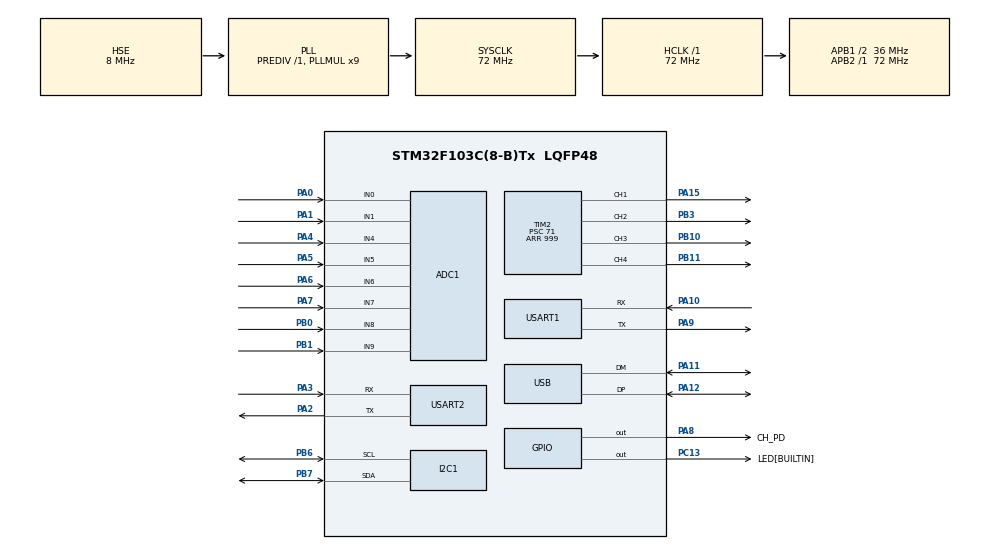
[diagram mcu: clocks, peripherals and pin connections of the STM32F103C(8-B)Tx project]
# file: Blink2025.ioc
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ADC1.Channel-0\#ChannelRegularConversion=ADC_CHANNEL_0
ADC1.Channel-1\#ChannelRegularConversion=ADC_CHANNEL_1
ADC1.Channel-2\#ChannelRegularConversion=ADC_CHANNEL_4
ADC1.Channel-3\#ChannelRegularConversion=ADC_CHANNEL_5
ADC1.Channel-4\#ChannelRegularConversion=ADC_CHANNEL_6
ADC1.Channel-5\#ChannelRegularConversion=ADC_CHANNEL_7
ADC1.Channel-6\#ChannelRegularConversion=ADC_CHANNEL_8
ADC1.Channel-7\#ChannelRegularConversion=ADC_CHANNEL_9
ADC1.ExternalTrigConv=ADC_EXTERNALTRIGCONV_T3_TRGO
ADC1.NbrOfConversion=8
ADC1.NbrOfConversionFlag=1
ADC1.Rank-0\#ChannelRegularConversion=1
ADC1.Rank-1\#ChannelRegularConversion=2
ADC1.Rank-2\#ChannelRegularConversion=3
ADC1.Rank-3\#ChannelRegularConversion=4
ADC1.Rank-4\#ChannelRegularConversion=5
ADC1.Rank-5\#ChannelRegularConversion=6
ADC1.Rank-6\#ChannelRegularConversion=7
ADC1.Rank-7\#ChannelRegularConversion=8
ADC1.SamplingTime-0\#ChannelRegularConversion=ADC_SAMPLETIME_7CYCLES_5
ADC1.SamplingTime-1\#ChannelRegularConversion=ADC_SAMPLETIME_7CYCLES_5
ADC1.SamplingTime-2\#ChannelRegularConversion=ADC_SAMPLETIME_7CYCLES_5
ADC1.SamplingTime-3\#ChannelRegularConversion=ADC_SAMPLETIME_7CYCLES_5
ADC1.SamplingTime-4\#ChannelRegularConversion=ADC_SAMPLETIME_7CYCLES_5
ADC1.SamplingTime-5\#ChannelRegularConversion=ADC_SAMPLETIME_7CYCLES_5
ADC1.SamplingTime-6\#ChannelRegularConversion=ADC_SAMPLETIME_7CYCLES_5
ADC1.SamplingTime-7\#ChannelRegularConversion=ADC_SAMPLETIME_7CYCLES_5
ADC1.master=1
Dma.ADC1.0.Direction=DMA_PERIPH_TO_MEMORY
Dma.ADC1.0.Instance=DMA1_Channel1
Dma.ADC1.0.MemDataAlignment=DMA_MDATAALIGN_HALFWORD
Dma.ADC1.0.MemInc=DMA_MINC_ENABLE
Dma.ADC1.0.Mode=DMA_CIRCULAR
Dma.ADC1.0.PeriphDataAlignment=DMA_PDATAALIGN_HALFWORD
Dma.ADC1.0.PeriphInc=DMA_PINC_DISABLE
Dma.ADC1.0.Priority=DMA_PRIORITY_LOW
Dma.I2C1_RX.2.Direction=DMA_PERIPH_TO_MEMORY
Dma.I2C1_RX.2.Instance=DMA1_Channel7
Dma.I2C1_RX.2.MemDataAlignment=DMA_MDATAALIGN_BYTE
Dma.I2C1_RX.2.MemInc=DMA_MINC_ENABLE
Dma.I2C1_RX.2.Mode=DMA_NORMAL
Dma.I2C1_RX.2.PeriphDataAlignment=DMA_PDATAALIGN_BYTE
Dma.I2C1_RX.2.PeriphInc=DMA_PINC_DISABLE
Dma.I2C1_RX.2.Priority=DMA_PRIORITY_LOW
Dma.I2C1_TX.1.Direction=DMA_MEMORY_TO_PERIPH
Dma.I2C1_TX.1.Instance=DMA1_Channel6
Dma.I2C1_TX.1.MemDataAlignment=DMA_MDATAALIGN_BYTE
Dma.I2C1_TX.1.MemInc=DMA_MINC_ENABLE
Dma.I2C1_TX.1.Mode=DMA_NORMAL
Dma.I2C1_TX.1.PeriphDataAlignment=DMA_PDATAALIGN_BYTE
Dma.I2C1_TX.1.PeriphInc=DMA_PINC_DISABLE
Dma.I2C1_TX.1.Priority=DMA_PRIORITY_MEDIUM
Dma.Request0=ADC1
Dma.Request1=I2C1_TX
Dma.Request2=I2C1_RX
I2C1.I2C_Mode=I2C_Fast
Mcu.Family=STM32F1
Mcu.Name=STM32F103C(8-B)Tx
Mcu.Package=LQFP48
NVIC.DMA1_Channel1_IRQn=true\:0\:0\:false\:false\:true\:false\:true\:true
NVIC.DMA1_Channel6_IRQn=true\:0\:0\:false\:false\:true\:false\:true\:true
NVIC.DMA1_Channel7_IRQn=true\:0\:0\:false\:false\:true\:false\:true\:true
NVIC.I2C1_ER_IRQn=true\:0\:0\:false\:false\:true\:true\:true\:true
NVIC.I2C1_EV_IRQn=true\:0\:0\:false\:false\:true\:true\:true\:true
NVIC.PriorityGroup=NVIC_PRIORITYGROUP_4
NVIC.TIM1_BRK_IRQn=true\:0\:0\:false\:false\:true\:true\:true\:true
NVIC.TIM1_TRG_COM_IRQn=true\:0\:0\:false\:false\:true\:true\:true\:true
NVIC.TIM1_UP_IRQn=true\:0\:0\:false\:false\:true\:true\:true\:true
NVIC.TIM2_IRQn=true\:0\:0\:false\:false\:true\:true\:true\:true
NVIC.TIM3_IRQn=true\:0\:0\:false\:false\:true\:true\:true\:true
NVIC.USART1_IRQn=true\:0\:0\:false\:false\:true\:true\:true\:true
NVIC.USART2_IRQn=true\:0\:0\:false\:false\:true\:true\:true\:true
NVIC.USB_LP_CAN1_RX0_IRQn=true\:0\:0\:false\:false\:true\:false\:true\:true
PA0-WKUP.Signal=ADCx_IN0
PA1.Signal=ADCx_IN1
PA10.Mode=Asynchronous
PA10.Signal=USART1_RX
PA11.Mode=Device
PA11.Signal=USB_DM
PA12.Mode=Device
PA12.Signal=USB_DP
PA13.Mode=Serial_Wire
PA13.Signal=SYS_JTMS-SWDIO
PA14.Mode=Serial_Wire
PA14.Signal=SYS_JTCK-SWCLK
PA15.Signal=S_TIM2_CH1_ETR
PA2.Mode=Asynchronous
PA2.Signal=USART2_TX
PA3.Mode=Asynchronous
PA3.Signal=USART2_RX
PA4.Signal=ADCx_IN4
PA5.Signal=ADCx_IN5
PA6.Signal=ADCx_IN6
PA7.Signal=ADCx_IN7
PA8.GPIO_Label=CH_PD
PA8.Signal=GPIO_Output
PA9.Mode=Asynchronous
PA9.Signal=USART1_TX
PB0.Signal=ADCx_IN8
PB1.Signal=ADCx_IN9
PB10.Signal=S_TIM2_CH3
PB11.Signal=S_TIM2_CH4
PB3.Signal=S_TIM2_CH2
PB6.Mode=I2C
PB6.Signal=I2C1_SCL
PB7.Mode=I2C
PB7.Signal=I2C1_SDA
PC13-TAMPER-RTC.GPIO_Label=LED[BUILTIN]
PC13-TAMPER-RTC.Signal=GPIO_Output
PC14-OSC32_IN.Mode=LSE-External-Oscillator
PC14-OSC32_IN.Signal=RCC_OSC32_IN
PC15-OSC32_OUT.Mode=LSE-External-Oscillator
PC15-OSC32_OUT.Signal=RCC_OSC32_OUT
PD0-OSC_IN.Mode=HSE-External-Oscillator
PD0-OSC_IN.Signal=RCC_OSC_IN
PD1-OSC_OUT.Mode=HSE-External-Oscillator
PD1-OSC_OUT.Signal=RCC_OSC_OUT
ProjectManager.HeapSize=0x200
ProjectManager.StackSize=0x400
ProjectManager.TargetToolchain=STM32CubeIDE
RCC.ADCPresc=RCC_ADCPCLK2_DIV6
RCC.AHBFreq_Value=72000000
RCC.APB1CLKDivider=RCC_HCLK_DIV2
RCC.APB1Freq_Value=36000000
RCC.APB1TimFreq_Value=72000000
RCC.APB2Freq_Value=72000000
RCC.APB2TimFreq_Value=72000000
RCC.HCLKFreq_Value=72000000
RCC.PLLMUL=RCC_PLL_MUL9
RCC.PLLSourceVirtual=RCC_PLLSOURCE_HSE
RCC.SYSCLKFreq_VALUE=72000000
RCC.SYSCLKSource=RCC_SYSCLKSOURCE_PLLCLK
RCC.USBFreq_Value=48000000
RCC.USBPrescaler=RCC_USBCLKSOURCE_PLL_DIV1_5
SH.ADCx_IN0.0=ADC1_IN0,IN0
SH.ADCx_IN1.0=ADC1_IN1,IN1
SH.ADCx_IN4.0=ADC1_IN4,IN4
SH.ADCx_IN5.0=ADC1_IN5,IN5
SH.ADCx_IN6.0=ADC1_IN6,IN6
SH.ADCx_IN7.0=ADC1_IN7,IN7
SH.ADCx_IN8.0=ADC1_IN8,IN8
SH.ADCx_IN9.0=ADC1_IN9,IN9
SH.S_TIM2_CH1_ETR.0=TIM2_CH1,PWM Generation1 CH1
SH.S_TIM2_CH2.0=TIM2_CH2,PWM Generation2 CH2
SH.S_TIM2_CH3.0=TIM2_CH3,PWM Generation3 CH3
SH.S_TIM2_CH4.0=TIM2_CH4,PWM Generation4 CH4
TIM1.Period=99
TIM1.Prescaler=7199
TIM1.TIM_MasterOutputTrigger=TIM_TRGO_UPDATE
TIM1.TIM_MasterSlaveMode=TIM_MASTERSLAVEMODE_DISABLE
TIM2.Channel-PWM\ Generation1\ CH1=TIM_CHANNEL_1
TIM2.Channel-PWM\ Generation2\ CH2=TIM_CHANNEL_2
TIM2.Channel-PWM\ Generation3\ CH3=TIM_CHANNEL_3
TIM2.Channel-PWM\ Generation4\ CH4=TIM_CHANNEL_4
TIM2.Period=999
TIM2.Prescaler=71
TIM3.Period=249
TIM3.Prescaler=71
TIM3.TIM_MasterOutputTrigger=TIM_TRGO_UPDATE
USART1.VirtualMode=VM_ASYNC
USART2.VirtualMode=VM_ASYNC
USB_DEVICE.APP_RX_DATA_SIZE=512
USB_DEVICE.APP_TX_DATA_SIZE=512
USB_DEVICE.CLASS_NAME_FS=CDC
USB_DEVICE.VirtualMode=Cdc
USB_DEVICE.VirtualModeFS=Cdc_FS
VP_TIM1_VS_ClockSourceINT.Mode=Internal
VP_TIM2_VS_ClockSourceINT.Mode=Internal
VP_TIM3_VS_ClockSourceINT.Mode=Internal
VP_USB_DEVICE_VS_USB_DEVICE_CDC_FS.Mode=CDC_FS
board=custom

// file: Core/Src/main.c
/* USER CODE BEGIN Header */
/**
  ******************************************************************************
  * @file           : main.c
  * @brief          : Main program body
  ******************************************************************************
  * @attention TADEO MENDELEVICH
  *
  * Copyright (c) 2025 STMicroelectronics.
  * All rights reserved.
  *
  * This software is licensed under terms that can be found in the LICENSE file
  * in the root directory of this software component.
  * If no LICENSE file comes with this software, it is provided AS-IS.
  *
  ******************************************************************************
  */
/* USER CODE END Header */
#include "main.h"
#include "usb_device.h"

/* USER CODE BEGIN Includes */
#include <stdarg.h>
#include <string.h>
#include "ESP01.h"
#include "UNER.h"
#include "usbd_cdc_if.h"
#include "MPU6050.h"
#include "ssd1306.h"
#include "fonts.h"
/* USER CODE END Includes */

/* USER CODE BEGIN PD */
#define CH_PD_GPIO_Port  	GPIOA
#define CH_PD_Pin        	GPIO_PIN_8

#define UDP_RX_SIZE  	 	512
#define UDP_RX_MASK   		(UDP_RX_SIZE - 1)
#define USB_TX_BUF_SIZE 	256
#define USB_TX_BUF_MASK 	(USB_TX_BUF_SIZE-1)

#define MPU_AVERAGE_SIZE 	10
#define ADC_AVERAGE_SIZE 	40

#define BAR_COUNT    		8
#define BAR_SPACING  		2
#define SCREEN_W     		SSD1306_WIDTH
#define SCREEN_H    		SSD1306_HEIGHT

#define CORDIC_K  			2478

#define ESP_USB_BUF_SIZE	512

/* USER CODE END PD */

ADC_HandleTypeDef hadc1;
DMA_HandleTypeDef hdma_adc1;

I2C_HandleTypeDef hi2c1;
DMA_HandleTypeDef hdma_i2c1_tx;
DMA_HandleTypeDef hdma_i2c1_rx;

TIM_HandleTypeDef htim1;
TIM_HandleTypeDef htim2;
TIM_HandleTypeDef htim3;

UART_HandleTypeDef huart1;
UART_HandleTypeDef huart2;

/* USER CODE BEGIN PV */
uint8_t BufUSBTx[256], nBytesTx;

extern USBD_HandleTypeDef hUsbDeviceFS;

uint8_t is250us, tmo100ms, is10ms;

uint8_t dataTx, dataRx;

static uint8_t unerRxBuffer[RXBUFSIZE];
static uint8_t unerTxBuffer[TXBUFSIZE];
static _sRx    unerRx;
 _sTx    unerTx;

char usbBuffer[128];

uint16_t adcValues[8];

static uint8_t esp01RxBuf[ESP01RXBUFAT];
static uint16_t esp01IwRx = 0;

static uint16_t esp01IrRx = 0;		/* Índice de lectura para el buffer UDP entrante */

uint8_t  espUSBBuf[ESP_USB_BUF_SIZE];
volatile uint16_t espUSBBufIw, espUSBBufIr;

static uint8_t sendModulesCounter, aliveCounter, mpu6050Counter;

int x = 1;

uint8_t i2c1_tx_busy = 0;

uint8_t mpuDataReady = 0;

uint8_t mpu_initialized = 0;

static const char HEX_DIGITS[] = "0123456789ABCDEF";	// Tabla de dígitos hex

uint8_t *sendAllSensors;

//const char *wifiSSID     = "FCAL";
//const char *wifiPassword = "fcalconcordia.06-2019";
//const char *wifiIp = "172.23.205.98";

const char *wifiSSID     = "MEGACABLE FIBRA-2.4G-ckd0";
const char *wifiPassword = "djg19dlk";
const char *wifiIp = "192.168.100.5";

//const char *wifiSSID     = "Delco_Mendelevich";
//const char *wifiPassword = "toyotakia";
//const char *wifiIp = "192.168.123.57";

static int32_t ax_ema = 0, ay_ema = 0, az_ema = 0;
static int32_t gx_ema = 0, gy_ema = 0, gz_ema = 0;
static uint8_t ema_initialized = 0;

static uint8_t usb_tx_buf[USB_TX_BUF_SIZE];
static volatile uint16_t tx_head = 0;
static volatile uint16_t tx_tail = 0;
static volatile uint8_t usb_tx_busy = 0;

int16_t motorRightVelocity = 0;
int16_t motorLeftVelocity  = 0;

static uint32_t adcSum[BAR_COUNT] = {0};	// Sumas acumuladas de las últimas ADC_AVERAGE_SIZE muestras
static uint16_t adcBuf[BAR_COUNT][ADC_AVERAGE_SIZE] = {{0}};		// Buffers circulares: [canal][posición en la ventana]
static uint8_t maIndex = 0;		// Índice circular común para todos los canales

// Valores promediados que luego usaremos para dibujar
static uint16_t adcAvg[BAR_COUNT] = {0};

static int16_t roll_deg = 0;	// eje x
static int16_t pitch_deg = 0;	// eje y

/// Ángulos de reducción de CORDIC en grados * 2^8 (escala Q8)
static const int16_t cordic_phase[16] = {
    128, 76, 40, 20, 10, 5, 2, 1, 1, 0, 0, 0, 0, 0, 0, 0
};

/* USER CODE END PV */

void SystemClock_Config(void);
static void MX_GPIO_Init(void);
static void MX_DMA_Init(void);
static void MX_TIM1_Init(void);
static void MX_USART1_UART_Init(void);
static void MX_USART2_UART_Init(void);
static void MX_ADC1_Init(void);
static void MX_TIM2_Init(void);
static void MX_I2C1_Init(void);
static void MX_TIM3_Init(void);
/* USER CODE BEGIN PFP */
void USBRxData(uint8_t *buf, int len);
static int  uart_send_byte(uint8_t byte);
static void esp01_chpd(uint8_t val);
void ESP01_USB_DbgStr(const char *dbgStr);
void USB_BufferPush(uint8_t b);

int  mpu_writeReg(void   *ctx, uint8_t devAddr, uint8_t regAddr, uint8_t *data, uint16_t length);
int  mpu_readReg(void   *ctx, uint8_t devAddr, uint8_t regAddr, uint8_t *data, uint16_t length);
int  mpu_readRegDMA(void   *ctx, uint8_t devAddr, uint8_t regAddr, uint8_t *data, uint16_t length);
void mpu_delayMs(void    *ctx, uint32_t ms);

void mpu_errorCb(void *ctx, int err);
void MPU6050_RegisterPlatform(MPU6050_Platform_t *plat);
void MPU6050_ProcessDMA(void);

void USB_DebugSend(const uint8_t *data, uint16_t len);
void USB_DebugStr(const char *s);	// Envía una cadena C terminada en '\0' por USB.
void USB_DebugHex(uint8_t b);	// Envía un byte representado en dos dígitos hexadecimales ASCII.
void USB_DebugUInt(unsigned int v);		// Envía un entero sin signo en formato decimal ASCII.
void USB_Debug(const char *fmt, ...);	// Mini-printf para debug: soporta %s, %c, %d/%u, %X y %%.
uint8_t usb_enqueue_tx(const uint8_t *data, uint16_t len);
void usb_service_tx(void);

void PWM_init();
void MotorControl(int16_t setMotorRight, int16_t setMotorLeft);

void my_ssd1306_init(void *ctx);
int my_ssd1306_write_cmd(void *ctx, uint8_t cmd);
int my_ssd1306_write_data(void *ctx, const uint8_t *data, uint16_t len);
int my_ssd1306_write_data_async(void *ctx, const uint8_t *data, uint16_t len);
uint8_t my_ssd1306_is_busy(void *ctx);
void my_ssd1306_errorCb(void *ctx, int err);
void my_ssd1306_delay_ms(void *ctx, uint32_t ms);
void updateDisplay(void);
void UpdateADC_MovingAverage(void);

uint16_t isqrt_uint32(uint32_t v);
void calculate_tilt(int16_t ax, int16_t ay, int16_t az, int16_t *out_roll_deg, int16_t *out_pitch_deg);
int16_t cordic_atan2_deg(int32_t y, int32_t x);
/* USER CODE END PFP */

/* USER CODE BEGIN 0 */
SSD1306_Ctx_t ssd_ctx = {
  .hi2c      = &hi2c1,
  .busy_flag = &i2c1_tx_busy
};

static const SSD1306_Platform_t SSD1306_plat = {
  .ctx              = &ssd_ctx,
  .init             = my_ssd1306_init,
  .write_cmd        = my_ssd1306_write_cmd,
  .write_data       = my_ssd1306_write_data,
  .write_data_async = my_ssd1306_write_data_async,
  .is_busy          = my_ssd1306_is_busy,
  .delay_ms         = my_ssd1306_delay_ms,
  .onError          = my_ssd1306_errorCb
};

MPU6050_Platform_t mpuPlat = {
  .ctx         = &hi2c1,
  .writeReg    = mpu_writeReg,
  .readReg     = mpu_readReg,
  .readRegDMA  = mpu_readRegDMA,
  .delayMs     = mpu_delayMs,
  .onError    = mpu_errorCb
};

void HAL_I2C_MasterTxCpltCallback(I2C_HandleTypeDef *hi2c) {
	if (hi2c->Instance == I2C1) {
        i2c1_tx_busy = 0;
    }
}

int mpu_writeReg(void *ctx, uint8_t devAddr, uint8_t regAddr, uint8_t *data, uint16_t len)
{
    HAL_StatusTypeDef st = HAL_I2C_Mem_Write((I2C_HandleTypeDef*)ctx, devAddr, regAddr,
    					I2C_MEMADD_SIZE_8BIT, data, len, HAL_MAX_DELAY);
    if (st != HAL_OK) {
        mpuPlat.onError(mpuPlat.ctx, st);
        return -1;
    }
    return 0;
}

int mpu_readReg(void *ctx, uint8_t devAddr, uint8_t regAddr, uint8_t *data, uint16_t len)
{
    HAL_StatusTypeDef st = HAL_I2C_Mem_Read((I2C_HandleTypeDef*)ctx, devAddr, regAddr,
    					I2C_MEMADD_SIZE_8BIT, data, len, HAL_MAX_DELAY);
    if (st != HAL_OK) {
        mpuPlat.onError(mpuPlat.ctx, st);
        return -1;
    }
    return 0;
}

int mpu_readRegDMA(void *ctx,
                   uint8_t devAddr,
                   uint8_t regAddr,
                   uint8_t *data,
                   uint16_t len)
{
    // Si el bus está ocupado, salimos
    if (i2c1_tx_busy) {
        return -1;
    }
    // Tomamos el bus
    i2c1_tx_busy = 1;

    HAL_StatusTypeDef st = HAL_I2C_Mem_Read_DMA(
        (I2C_HandleTypeDef*)ctx,
        devAddr,
        regAddr,
        I2C_MEMADD_SIZE_8BIT,
        data,
        len
    );
    if (st != HAL_OK) {
        // Si no arranca, liberamos y notificamos
        i2c1_tx_busy = 0;
        mpuPlat.onError(mpuPlat.ctx, st);
        return -1;
    }
    return 0;
}

void mpu_delayMs(void *ctx, uint32_t ms) {
    HAL_Delay(ms);
}

void mpu_errorCb(void *ctx, int err) {
    static uint8_t error_printed = 0;
    if (!error_printed) {
        error_printed = 1;
        mpu_initialized = 0;  // impide futuras lecturas DMA
        USB_Debug("ERROR MPU6050: 0x%02X\r\n", err);
    }
}

void HAL_I2C_MemRxCpltCallback(I2C_HandleTypeDef *hi2c) {
    if (hi2c->Instance != I2C1) return;
    // 1) liberamos el bus I2C
    i2c1_tx_busy = 0;
    // 2) ahora procesamos datos bruto → físico
    MPU6050_ProcessDMA();
}

void HAL_I2C_ErrorCallback(I2C_HandleTypeDef *hi2c) {
    if (hi2c->Instance == I2C1) {
        i2c1_tx_busy = 0;
    }
}

void USB_BufferPush(uint8_t b){
    espUSBBuf[espUSBBufIw++] = b;
    espUSBBufIw &= (ESP_USB_BUF_SIZE - 1);
}

void USBRxData(uint8_t *buf, int len) {
    for (int i = 0; i < len; i++) {
        UNER_PushByte(buf[i]);
    }
}

void HAL_TIM_PeriodElapsedCallback(TIM_HandleTypeDef *htim) {
    if (htim->Instance == TIM1) {        // 10 ms
        is10ms = 1;
    }
    if (htim->Instance == TIM3) {        // 250 µs
        is250us = 1;
    }
}
void HAL_UART_RxCpltCallback(UART_HandleTypeDef *huart) {
    if (huart->Instance == USART1) {
        ESP01_WriteRX(dataRx);      // Sube byte al buffer AT
        //ESP01_Task();    // dentro hace ESP01ATDecode()
        HAL_UART_Receive_IT(&huart1, &dataRx, 1);
    }
}

static void esp01_chpd(uint8_t val) {
    // CH_PD_GPIO_Port y CH_PD_Pin vienen de MX_GPIO_Init()
    HAL_GPIO_WritePin(CH_PD_GPIO_Port, CH_PD_Pin,
                      val ? GPIO_PIN_SET : GPIO_PIN_RESET);
}

static int uart_send_byte(uint8_t byte) {
    return (HAL_UART_Transmit(&huart1, &byte, 1, 100) == HAL_OK) ? 1 : 0;
}

// Envío “atómico” por USB (fragmenta en trozos de ≤64 bytes)
void USB_DebugSend(const uint8_t *data, uint16_t len) {
    // Fragmenta en trozos ≤64B y encolarlos sin bloquear
    while (len) {
        uint16_t chunk = (len > 64 ? 64 : len);
        usb_enqueue_tx(data, chunk);
        data  += chunk;
        len   -= chunk;
    }
}

// Envía una cadena literal
void USB_DebugStr(const char *s) {
    USB_DebugSend((uint8_t*)s, (uint16_t)strlen(s));
}

// Envía un byte como dos dígitos hex ASCII
void USB_DebugHex(uint8_t b) {
    char h[2] = { HEX_DIGITS[b >> 4], HEX_DIGITS[b & 0xF] };
    USB_DebugSend((uint8_t*)h, 2);
}

// Envía un entero sin signo en decimal
void USB_DebugUInt(unsigned int v) {
    char buf[10];
    int  pos = 0;
    if (v == 0) {
        USB_DebugSend((uint8_t*)"0", 1);
        return;
    }
    while (v) {
        buf[pos++] = '0' + (v % 10);
        v /= 10;
    }
    // buf[] está al revés
    for (int i = pos - 1; i >= 0; i--) {
        USB_DebugSend((uint8_t*)&buf[i], 1);
    }
}

// La nueva USB_Debug sin vsnprintf:
void USB_Debug(const char *fmt, ...) {
    va_list ap;
    va_start(ap, fmt);

    while (*fmt) {
        if (*fmt == '%') {
            fmt++;
            switch (*fmt) {
                case 's': { // cadena
                    char *s = va_arg(ap, char*);
                    USB_DebugStr(s);
                    break;
                }
                case 'c': { // caracter
                    char c = (char)va_arg(ap, int);
                    USB_DebugSend((uint8_t*)&c, 1);
                    break;
                }
                case 'u': // entero sin signo
                case 'd': { // entero con signo (le damos igual)
                    unsigned int v = va_arg(ap, unsigned int);
                    USB_DebugUInt(v);
                    break;
                }
                case 'X': { // hex byte
                    uint8_t b = (uint8_t)va_arg(ap, unsigned int);
                    USB_DebugHex(b);
                    break;
                }
                case '%': { // literal ‘%’
                    USB_DebugSend((uint8_t*)"%", 1);
                    break;
                }
                default: // desconocido, lo imprimimos tal cual
                    USB_DebugSend((uint8_t*)fmt, 1);
            }
        } else {
            // carácter normal
            USB_DebugSend((uint8_t*)fmt, 1);
        }
        fmt++;
    }

    va_end(ap);
}

uint8_t usb_enqueue_tx(const uint8_t *data, uint16_t len) {
    uint16_t next;
    for (uint16_t i = 0; i < len; i++) {
        next = (tx_head + 1) & USB_TX_BUF_MASK;
        if (next == tx_tail) {
            // buffer lleno
            return 0;
        }
        usb_tx_buf[tx_head] = data[i];
        tx_head = next;
    }
    if (usb_tx_busy == 0) {
        usb_service_tx();
    }
    return 1;
}

void usb_service_tx(void) {
    USBD_CDC_HandleTypeDef *hcdc = (USBD_CDC_HandleTypeDef*)hUsbDeviceFS.pClassData;

    // 1) Si antes estábamos “busy” y el driver ya terminó, liberamos la bandera
    if (usb_tx_busy && hcdc->TxState == 0) {
        usb_tx_busy = 0;
    }

    // 2) Si aún está ocupada la línea o no hay datos, no hacemos nada
    if (usb_tx_busy || tx_head == tx_tail) {
        return;
    }

    // 3) Preparamos el siguiente chunk y lo enviamos
    uint8_t chunk[64];
    uint16_t cnt = 0;
    while (cnt < 64 && tx_tail != tx_head) {
        chunk[cnt++] = usb_tx_buf[tx_tail];
        tx_tail = (tx_tail + 1) & USB_TX_BUF_MASK;
    }
    if (cnt) {
        usb_tx_busy = 1;
        CDC_Transmit_FS(chunk, cnt);
    }
}

void PWM_init() {
	HAL_TIM_Base_Start(&htim2);

	HAL_TIM_PWM_Start(&htim2, TIM_CHANNEL_1);
	HAL_TIM_PWM_Start(&htim2, TIM_CHANNEL_2);
	HAL_TIM_PWM_Start(&htim2, TIM_CHANNEL_3);
	HAL_TIM_PWM_Start(&htim2, TIM_CHANNEL_4);

	__HAL_TIM_SET_COMPARE(&htim2, TIM_CHANNEL_1, 0);
	__HAL_TIM_SET_COMPARE(&htim2, TIM_CHANNEL_2, 0);
	__HAL_TIM_SET_COMPARE(&htim2, TIM_CHANNEL_3, 0);
	__HAL_TIM_SET_COMPARE(&htim2, TIM_CHANNEL_4, 0);
}

// Motor 1: CH1 = avance (PA15), CH2 = retroceso (PB3)
void MotorControl(int16_t setMotorRight, int16_t setMotorLeft) {
	int16_t auxSetMotor;

	auxSetMotor = (abs(setMotorRight)*TIM2->ARR)/100;
	if(setMotorRight >= 0){
		//SET MOTOR DERECHO ADELANTE
		__HAL_TIM_SET_COMPARE(&htim2, TIM_CHANNEL_1, auxSetMotor);
		__HAL_TIM_SET_COMPARE(&htim2, TIM_CHANNEL_2, 0);
	}else{
		//SET MOTOR DERECHO REVERSA
		__HAL_TIM_SET_COMPARE(&htim2, TIM_CHANNEL_1, 0);
		__HAL_TIM_SET_COMPARE(&htim2, TIM_CHANNEL_2, auxSetMotor);
	}

	auxSetMotor = (abs(setMotorLeft)*TIM2->ARR)/100;
	if(setMotorLeft >= 0){
		//SET MOTOR IZQUIERDO ADELANTE
		__HAL_TIM_SET_COMPARE(&htim2, TIM_CHANNEL_3, 0);
		__HAL_TIM_SET_COMPARE(&htim2, TIM_CHANNEL_4, auxSetMotor);
	}else{
		//SET MOTOR IZQUIERDO REVERSA
		__HAL_TIM_SET_COMPARE(&htim2, TIM_CHANNEL_3, auxSetMotor);
		__HAL_TIM_SET_COMPARE(&htim2, TIM_CHANNEL_4, 0);
	}
}

void my_ssd1306_init(void *ctx) {
    //MX_I2C1_Init();
}

// Callback comando
int my_ssd1306_write_cmd(void *ctx, uint8_t cmd) {
    HAL_StatusTypeDef st = HAL_I2C_Master_Transmit(&hi2c1, SSD1306_I2C_ADDR, (uint8_t[]){0x00, cmd}, 2, HAL_MAX_DELAY);

    if (st != HAL_OK) {
        SSD1306_plat.onError(ctx, (int)st);
        return -1;
    }
    return 0;
}

// Callback datos bloqueante
int my_ssd1306_write_data(void *ctx, const uint8_t *data, uint16_t len) {
    // Desempaquetar el contexto
    SSD1306_Ctx_t *c = (SSD1306_Ctx_t*)ctx;
    // Preparo buffer con control byte + datos
    uint8_t buf[1 + SSD1306_WIDTH];
    buf[0] = 0x40;
    memcpy(&buf[1], data, len);
    // Transmisión bloqueante
    HAL_StatusTypeDef st = HAL_I2C_Master_Transmit(
        c->hi2c,
        SSD1306_I2C_ADDR,
        buf,
        len + 1,
        HAL_MAX_DELAY
    );
    if (st != HAL_OK) {
        // Notifico el fallo (p.ej. por USB y LED)
        SSD1306_plat.onError(ctx, (int)st);
        return -1;
    }
    return 0;
}

// Callback datos no bloqueante (DMA)
int my_ssd1306_write_data_async(void *ctx, const uint8_t *data, uint16_t len) {
    SSD1306_Ctx_t *c = (SSD1306_Ctx_t*)ctx;
    // 1) Si el bus está ocupado, lanza error
    if (*c->busy_flag) {
        SSD1306_plat.onError(ctx, -1);     // -1 = BUSY_ERROR
        return -1;
    }

    // 2) Preparo buffer (control byte + datos)
    static uint8_t dmaBuf[1 + SSD1306_WIDTH];
    dmaBuf[0] = 0x40;
    memcpy(&dmaBuf[1], data, len);

    // 3) Marco el bus como ocupado
    *c->busy_flag = 1;

    // 4) Lanzo la DMA
    HAL_StatusTypeDef st = HAL_I2C_Master_Transmit_DMA(c->hi2c, SSD1306_I2C_ADDR, dmaBuf,len + 1);
    if (st != HAL_OK) {
        // si falla al arrancar, limpio flag y notifico
        *c->busy_flag = 0;
        SSD1306_plat.onError(ctx, (int)st);
        return -1;
    }
    return 0;
}

// Callback busy-check
uint8_t my_ssd1306_is_busy(void *ctx) {
    return i2c1_tx_busy ? 1 : 0;
}

void my_ssd1306_errorCb(void *ctx, int err) {
	USB_Debug("ERROR SSD1306: 0x");
	USB_DebugHex(err);
	USB_Debug("\r\n");
    i2c1_tx_busy = 0;
	SSD1306_ResetUpdateState();
}

// Callback delay
void my_ssd1306_delay_ms(void *ctx, uint32_t ms) {
    HAL_Delay(ms);
}

void UpdateADC_MovingAverage(void) {
    for (uint8_t ch = 0; ch < BAR_COUNT; ++ch) {
        // Resta la muestra más antigua e incluye la nueva
        adcSum[ch] = adcSum[ch] - adcBuf[ch][maIndex] + adcValues[ch];

        adcBuf[ch][maIndex] = adcValues[ch];	        // Guarda la nueva en el buffer

        adcAvg[ch] = adcSum[ch] / ADC_AVERAGE_SIZE;	        // Calcula el promedio truncado
    }
    maIndex = (maIndex + 1) % ADC_AVERAGE_SIZE;	    // Avanza en el buffer circular
}

// Entero sqrt aproximado (Newton)
// Devuelve floor(sqrt(v))
uint16_t isqrt_uint32(uint32_t v) {
    uint32_t x = v;
    uint32_t y = (x + 1) >> 1;
    while (y < x) {
        x = y;
        y = (v/x + x) >> 1;
    }
    return (uint16_t)x;
}

void updateDisplay(void) {
    // 1) Limpia todo el buffer
    SSD1306_Fill(SSD1306_COLOR_BLACK);

    // 2) Línea divisoria en medio
    SSD1306_DrawLine(
        SCREEN_W/2, 0,
        SCREEN_W/2, SCREEN_H - 1,
        SSD1306_COLOR_WHITE
    );

    // 3) MPU6050 – valores en la mitad izquierda
    //    Etiquetas con Font_7x10 (7px ancho), números con SSD1306_DrawDigit5x7 (5px ancho)
    {
        const char* labels[6] = { "AX:", "AY:", "AZ:", "GX:", "GY:", "GZ:" };
        int16_t    values[6];
        // Suponemos que ax…gz ya están actualizados
        MPU6050_GetAccel(&values[0], &values[1], &values[2]);
        MPU6050_GetGyro (&values[3], &values[4], &values[5]);

        char buf[7]; // para itoa

        for (int i = 0; i < 6; i++) {
            // fila i → y = 2 + i*10 (10px de separación por fila)
            uint16_t y = 2 + i * 10;
            // etiqueta
            SSD1306_GotoXY(2, y);
            SSD1306_Puts(labels[i], &Font_7x10, SSD1306_COLOR_WHITE);
            // convierte valor a cadena
            itoa(values[i], buf, 10);
            // dibuja cada dígito pequeño
            uint16_t x = 2 + strlen(labels[i]) * Font_7x10.FontWidth;
            for (char *p = buf; *p; p++) {
                if (*p == '-') {
                    // si quieres manejar el signo, puedes dibujar un guión simple
                    SSD1306_DrawLine(x, y + 3, x + 4, y + 3, SSD1306_COLOR_WHITE);
                    x += 6;
                } else {
                    SSD1306_DrawDigit5x7(*p - '0', x, y);
                    x += Font_5x7.FontWidth + 1;
                }
            }
        }
    }

    // 4) Título “VALORES ADC” centrado sobre las barras, con Font_7x10
    {
        const char *title   = "VAL ADCs";
        uint16_t   w        = strlen(title) * Font_7x10.FontWidth;
        uint16_t   x0       = SCREEN_W/2 + ((SCREEN_W/2 - w)/2);
        SSD1306_GotoXY(x0, 1);
        SSD1306_Puts(title, &Font_7x10, SSD1306_COLOR_WHITE);
    }

    // 5) Barras en la mitad derecha (igual que antes)
    {
        const uint16_t title_h   = Font_7x10.FontHeight + 2;
        const uint16_t region_x  = SCREEN_W/2;
        const uint16_t region_y  = title_h;
        const uint16_t region_w  = SCREEN_W/2;
        const uint16_t region_h  = SCREEN_H - region_y - Font_5x7.FontHeight;

        const uint16_t bar_spacing = BAR_SPACING;
        const uint16_t bar_width   =
            (region_w - (BAR_COUNT + 1)*bar_spacing) / BAR_COUNT;

        for (uint8_t i = 0; i < BAR_COUNT; i++) {
            uint16_t v  = adcAvg[i] > 4000 ? 4000 : adcAvg[i];
            uint16_t h  = (uint32_t)v * region_h / 4000;
            uint16_t x0 = region_x + bar_spacing + i*(bar_width + bar_spacing);
            uint16_t y0 = region_y + (region_h - h);
            SSD1306_DrawFilledRectangle(x0, y0, bar_width, h, SSD1306_COLOR_WHITE);

            // dígito bajo la barra
            uint16_t tx = x0 + (bar_width - Font_5x7.FontWidth)/2;
            uint16_t ty = region_y + region_h + ((Font_5x7.FontHeight + 2 - Font_5x7.FontHeight)/2);
            SSD1306_DrawDigit5x7(i+1, tx, ty);
        }
    }

    SSD1306_RequestUpdate();
}

/// Devuelve atan2(y,x) en grados, enteros
int16_t cordic_atan2_deg(int32_t y, int32_t x) {
    int32_t xc = x, yc = y;
    int16_t angle = 0;

    // Llevamos el vector dentro del cuadrante primero
    if (xc < 0) {
        xc = -xc;
        yc = -yc;
        angle = 180;
    }

    // Normalizamos por K (opcional si tu hardware lo acelera)
    xc = (xc * CORDIC_K) >> 12;
    yc = (yc * CORDIC_K) >> 12;

    // 16 iteraciones bastan para ~1°
    for (int i = 0; i < 16; i++) {
        int32_t x_shift = xc >> i;
        int32_t y_shift = yc >> i;
        if (yc > 0) {
            xc += y_shift;
            yc -= x_shift;
            angle += cordic_phase[i];
        } else {
            xc -= y_shift;
            yc += x_shift;
            angle -= cordic_phase[i];
        }
    }

    return angle;
}

/// Tu calculate_tilt usando cordic_atan2_deg:
void calculate_tilt(int16_t ax, int16_t ay, int16_t az,
                    int16_t *out_roll_deg, int16_t *out_pitch_deg)
{
    // roll = atan2( ay, az )
    *out_roll_deg  = cordic_atan2_deg( ay, az );

    // pitch = atan2( -ax, sqrt( ay² + az² ) )
    uint32_t mag2 = (uint32_t)ay*(uint32_t)ay + (uint32_t)az*(uint32_t)az;
    // Para la raíz puedes usar una isqrt aproximada:
    int32_t denom = isqrt_uint32(mag2);
    *out_pitch_deg = cordic_atan2_deg( -ax, denom );
}

void appOnESP01ChangeState(_eESP01STATUS state) {
    if (state == ESP01_WIFI_NEW_IP) {
        // Ahora que ya tenemos IP propia, arrancamos el socket UDP
        ESP01_StartUDP(wifiIp, 30010, 30000);
    }
    // Si más adelante quieres TCP, aquí gestionas ESP01_UDPTCP_CONNECTED, etc.
}

/* USER CODE END 0 */

int main(void)
{

  /* MCU Configuration--------------------------------------------------------*/

  /* Reset of all peripherals, Initializes the Flash interface and the Systick. */
  HAL_Init();

  /* Configure the system clock */
  SystemClock_Config();

  /* Initialize all configured peripherals */
  MX_GPIO_Init();
  MX_DMA_Init();
  MX_TIM1_Init();
  MX_USART1_UART_Init();
  MX_USART2_UART_Init();
  MX_USB_DEVICE_Init();
  MX_ADC1_Init();
  MX_TIM2_Init();
  MX_I2C1_Init();
  MX_TIM3_Init();
  /* USER CODE BEGIN 2 */
  CDC_Attach_Rx(USBRxData);
  nBytesTx = 0;

  HAL_ADC_Start_DMA(&hadc1, (uint32_t*)adcValues, 8);

  HAL_TIM_Base_Start_IT(&htim1);
  HAL_TIM_Base_Start_IT(&htim3);

  PWM_init();

  HAL_UART_Receive_IT(&huart1, &dataRx, 1);

  static _sESP01Handle esp01Handle = {
      .aDoCHPD         = esp01_chpd,                  // Controla CH_PD
      .aWriteUSARTByte = uart_send_byte,          // Envía un byte por UART
      .bufRX           = esp01RxBuf,              // Buffer de recepción
      .iwRX            = &esp01IwRx,              // Índice de escritura
      .sizeBufferRX    = sizeof(esp01RxBuf)       // Tamaño del buffer
  };

  ESP01_Init(&esp01Handle);                        // Copia el handle interno :contentReference[oaicite:1]{index=1}
  ESP01_AttachChangeState(appOnESP01ChangeState);
  esp01_chpd(1);  // Pone CH_PD a nivel alto para sacar al módulo de reset
  HAL_Delay(100);
  ESP01_AttachDebugStr(ESP01_USB_DbgStr);
  ESP01_SetWIFI(wifiSSID, wifiPassword);

  int16_t ax, ay, az;	// Inicializo variables de aceleracion y giroscopio
  int16_t gx, gy, gz;

  unerRx.buff = unerRxBuffer;
  unerRx.mask = RXBUFSIZE - 1;
  unerTx.buff = unerTxBuffer;
  unerTx.mask = TXBUFSIZE - 1;
  UNER_Init(&unerRx, &unerTx, &ax, &ay, &az, &gx, &gy, &gz);
  UNER_RegisterADCBuffer(adcAvg, 8);  // array adcValues[8]
  UNER_RegisterMotorSpeed(&motorRightVelocity, &motorLeftVelocity);
  UNER_RegisterAngle(&roll_deg, &pitch_deg);

  //HAL_Delay(100);
  SSD1306_RegisterPlatform(&SSD1306_plat);
  SSD1306_Init();

  SSD1306_DrawBitmap(0, 0, unerLogo, 128, 64, SSD1306_COLOR_WHITE);
  SSD1306_UpdateScreen_Blocking();

  MPU6050_RegisterPlatform(&mpuPlat);
  int status = MPU6050_Init();
  if (status != MPU6050_OK) {
	  mpu_initialized = 0;
      USB_Debug("ERROR MPU6050: NO SE HA PODIDO INICIALIZAR EL MODULO MPU6050\r\n");
  } else {
	   mpu_initialized = 1;
	   MPU6050_Calibrate();		// Calibración
	   MPU6050_StartRead_Accel_DMA();	// Lanzo priemra lectura
  }

  tmo100ms = 10;
  is250us = 0;
  is10ms = 0;
  mpu6050Counter = 0;
  aliveCounter = 0;
  sendAllSensors = 0;

  motorRightVelocity = 0;
  motorLeftVelocity  = 0;

  esp01IwRx = 0;
  esp01IrRx = 0;

  HAL_Delay(2000);
  /* USER CODE END 2 */

  /* Infinite loop */
  while (1)
  {

    /* USER CODE BEGIN 3 */
	  if(is10ms) {
		  is10ms = 0;

		  ESP01_Timeout10ms();  	// Requerido por la librería ESP01
		  ESP01_Task(); 	// Procesa tramas ESP01 recibidas

		  tmo100ms--;
		  if (tmo100ms == 0) {
			  tmo100ms = 10;
			  HAL_GPIO_TogglePin(LED_GPIO_Port, LED_Pin); // Blink LED
		  }

		  /*aliveCounter++;
		  if (aliveCounter >= 200) {
			  aliveCounter = 0;
			  if (ESP01_StateUDPTCP() == ESP01_UDPTCP_CONNECTED
			      && !ESP01_IsSending()) {
			      UNER_SendAlive();
			  }
		  }*/

		  sendModulesCounter++;
		  if (sendModulesCounter >= 20) {
			  sendModulesCounter = 0;
			  if (UNER_ShouldSendAllSensors()) {
				  UNER_SendAllSensors();
			  }
		  }

		  mpu6050Counter++;
		  if (mpu6050Counter >= 2 && mpu_initialized) {
			mpu6050Counter = 0;
			if (!i2c1_tx_busy) {
			  MPU6050_StartRead_Accel_DMA();   // Lanzo la lectura de aceleracion y luego se lanza sola la de giroscopio dentro de su funcion
			}
		  }

		  if (MPU6050_IsAccelReady() && !i2c1_tx_busy) {
			  MPU6050_ClearAccelReady();
		  }

		  if (MPU6050_IsGyroReady() && !i2c1_tx_busy) {
			  MPU6050_ClearGyroReady();
			  mpuDataReady    = 1;
		  }

		  if (mpuDataReady) {		// Valores de MPU6050 listos para ser utilizados
			  mpuDataReady = 0;
			  MPU6050_GetAccel(&ax, &ay, &az);
			  MPU6050_GetGyro(&gx, &gy, &gz);

			  if (!ema_initialized) {
			      // Primera muestra: inicializar
			      ax_ema = ax;  ay_ema = ay;  az_ema = az;
			      gx_ema = gx;  gy_ema = gy;  gz_ema = gz;
			      ema_initialized = 1;
			  } else {
			      // EMA: new_ema = ((old_ema*(MPU_AVERAGE_SIZE-1)) + sample) / MPU_AVERAGE_SIZE
			      ax_ema = ((ax_ema * (MPU_AVERAGE_SIZE - 1)) + ax) / MPU_AVERAGE_SIZE;
			      ay_ema = ((ay_ema * (MPU_AVERAGE_SIZE - 1)) + ay) / MPU_AVERAGE_SIZE;
			      az_ema = ((az_ema * (MPU_AVERAGE_SIZE - 1)) + az) / MPU_AVERAGE_SIZE;

			      gx_ema = ((gx_ema * (MPU_AVERAGE_SIZE - 1)) + gx) / MPU_AVERAGE_SIZE;
			      gy_ema = ((gy_ema * (MPU_AVERAGE_SIZE - 1)) + gy) / MPU_AVERAGE_SIZE;
			      gz_ema = ((gz_ema * (MPU_AVERAGE_SIZE - 1)) + gz) / MPU_AVERAGE_SIZE;
			  }

			  // Sobrescribimos las variables que UNER enviará:
			  ax = (int16_t)ax_ema;
			  ay = (int16_t)ay_ema;
			  az = (int16_t)az_ema;

			  gx = (int16_t)gx_ema;
			  gy = (int16_t)gy_ema;
			  gz = (int16_t)gz_ema;

			  calculate_tilt(ax, ay, az, &roll_deg, &pitch_deg);
		  }

		  MotorControl(motorRightVelocity, motorLeftVelocity);

		  UpdateADC_MovingAverage();

		  if (SSD1306_IsUpdateDone()) {	// Actualizar display con valores de adc, mpu y estados
			  updateDisplay();
		  }
	  }

	  while ((esp01IwRx - esp01IrRx) & UDP_RX_MASK) {
	      uint8_t b = esp01RxBuf[esp01IrRx];
	      esp01IrRx = (esp01IrRx + 1) & UDP_RX_MASK;

	      // DEBUG: mostrar en USB cada byte recibido
	      char dbg[6];
	      snprintf(dbg, sizeof(dbg), "%02X ", b);
	      USB_DebugStr(dbg);

	      UNER_PushByte(b);
	  }

	  UNER_Task(); 		// Procesa tramas UNER recibidas

	  usb_service_tx();
	  SSD1306_UpdateScreen();

	  if (dataTx) {
	      HAL_UART_Transmit(&huart1, &dataTx, 1, 100);
	      dataTx = 0;
	  }

	  //if(CDC_Transmit_FS(BufUSBTx, nBytesTx) == USBD_OK)
		//  nBytesTx = 0;
  }
  /* USER CODE END 3 */
}

void SystemClock_Config(void)
{
  RCC_OscInitTypeDef RCC_OscInitStruct = {0};
  RCC_ClkInitTypeDef RCC_ClkInitStruct = {0};
  RCC_PeriphCLKInitTypeDef PeriphClkInit = {0};

  /** Initializes the RCC Oscillators according to the specified parameters
  * in the RCC_OscInitTypeDef structure.
  */
  RCC_OscInitStruct.OscillatorType = RCC_OSCILLATORTYPE_HSE;
  RCC_OscInitStruct.HSEState = RCC_HSE_ON;
  RCC_OscInitStruct.HSEPredivValue = RCC_HSE_PREDIV_DIV1;
  RCC_OscInitStruct.HSIState = RCC_HSI_ON;
  RCC_OscInitStruct.PLL.PLLState = RCC_PLL_ON;
  RCC_OscInitStruct.PLL.PLLSource = RCC_PLLSOURCE_HSE;
  RCC_OscInitStruct.PLL.PLLMUL = RCC_PLL_MUL9;
  if (HAL_RCC_OscConfig(&RCC_OscInitStruct) != HAL_OK)
  {
    Error_Handler();
  }

  /** Initializes the CPU, AHB and APB buses clocks
  */
  RCC_ClkInitStruct.ClockType = RCC_CLOCKTYPE_HCLK|RCC_CLOCKTYPE_SYSCLK
                              |RCC_CLOCKTYPE_PCLK1|RCC_CLOCKTYPE_PCLK2;
  RCC_ClkInitStruct.SYSCLKSource = RCC_SYSCLKSOURCE_PLLCLK;
  RCC_ClkInitStruct.AHBCLKDivider = RCC_SYSCLK_DIV1;
  RCC_ClkInitStruct.APB1CLKDivider = RCC_HCLK_DIV2;
  RCC_ClkInitStruct.APB2CLKDivider = RCC_HCLK_DIV1;

  if (HAL_RCC_ClockConfig(&RCC_ClkInitStruct, FLASH_LATENCY_2) != HAL_OK)
  {
    Error_Handler();
  }
  PeriphClkInit.PeriphClockSelection = RCC_PERIPHCLK_ADC|RCC_PERIPHCLK_USB;
  PeriphClkInit.AdcClockSelection = RCC_ADCPCLK2_DIV6;
  PeriphClkInit.UsbClockSelection = RCC_USBCLKSOURCE_PLL_DIV1_5;
  if (HAL_RCCEx_PeriphCLKConfig(&PeriphClkInit) != HAL_OK)
  {
    Error_Handler();
  }
}

static void MX_ADC1_Init(void)
{

  ADC_ChannelConfTypeDef sConfig = {0};

  /** Common config
  */
  hadc1.Instance = ADC1;
  hadc1.Init.ScanConvMode = ADC_SCAN_ENABLE;
  hadc1.Init.ContinuousConvMode = DISABLE;
  hadc1.Init.DiscontinuousConvMode = DISABLE;
  hadc1.Init.ExternalTrigConv = ADC_EXTERNALTRIGCONV_T3_TRGO;
  hadc1.Init.DataAlign = ADC_DATAALIGN_RIGHT;
  hadc1.Init.NbrOfConversion = 8;
  if (HAL_ADC_Init(&hadc1) != HAL_OK)
  {
    Error_Handler();
  }

  /** Configure Regular Channel
  */
  sConfig.Channel = ADC_CHANNEL_0;
  sConfig.Rank = ADC_REGULAR_RANK_1;
  sConfig.SamplingTime = ADC_SAMPLETIME_7CYCLES_5;
  if (HAL_ADC_ConfigChannel(&hadc1, &sConfig) != HAL_OK)
  {
    Error_Handler();
  }

  /** Configure Regular Channel
  */
  sConfig.Channel = ADC_CHANNEL_1;
  sConfig.Rank = ADC_REGULAR_RANK_2;
  if (HAL_ADC_ConfigChannel(&hadc1, &sConfig) != HAL_OK)
  {
    Error_Handler();
  }

  /** Configure Regular Channel
  */
  sConfig.Channel = ADC_CHANNEL_4;
  sConfig.Rank = ADC_REGULAR_RANK_3;
  if (HAL_ADC_ConfigChannel(&hadc1, &sConfig) != HAL_OK)
  {
    Error_Handler();
  }

  /** Configure Regular Channel
  */
  sConfig.Channel = ADC_CHANNEL_5;
  sConfig.Rank = ADC_REGULAR_RANK_4;
  if (HAL_ADC_ConfigChannel(&hadc1, &sConfig) != HAL_OK)
  {
    Error_Handler();
  }

  /** Configure Regular Channel
  */
  sConfig.Channel = ADC_CHANNEL_6;
  sConfig.Rank = ADC_REGULAR_RANK_5;
  if (HAL_ADC_ConfigChannel(&hadc1, &sConfig) != HAL_OK)
  {
    Error_Handler();
  }

  /** Configure Regular Channel
  */
  sConfig.Channel = ADC_CHANNEL_7;
  sConfig.Rank = ADC_REGULAR_RANK_6;
  if (HAL_ADC_ConfigChannel(&hadc1, &sConfig) != HAL_OK)
  {
    Error_Handler();
  }

  /** Configure Regular Channel
  */
  sConfig.Channel = ADC_CHANNEL_8;
  sConfig.Rank = ADC_REGULAR_RANK_7;
  if (HAL_ADC_ConfigChannel(&hadc1, &sConfig) != HAL_OK)
  {
    Error_Handler();
  }

  /** Configure Regular Channel
  */
  sConfig.Channel = ADC_CHANNEL_9;
  sConfig.Rank = ADC_REGULAR_RANK_8;
  if (HAL_ADC_ConfigChannel(&hadc1, &sConfig) != HAL_OK)
  {
    Error_Handler();
  }

}

static void MX_I2C1_Init(void)
{

  hi2c1.Instance = I2C1;
  hi2c1.Init.ClockSpeed = 400000;
  hi2c1.Init.DutyCycle = I2C_DUTYCYCLE_2;
  hi2c1.Init.OwnAddress1 = 0;
  hi2c1.Init.AddressingMode = I2C_ADDRESSINGMODE_7BIT;
  hi2c1.Init.DualAddressMode = I2C_DUALADDRESS_DISABLE;
  hi2c1.Init.OwnAddress2 = 0;
  hi2c1.Init.GeneralCallMode = I2C_GENERALCALL_DISABLE;
  hi2c1.Init.NoStretchMode = I2C_NOSTRETCH_DISABLE;
  if (HAL_I2C_Init(&hi2c1) != HAL_OK)
  {
    Error_Handler();
  }

}

static void MX_TIM1_Init(void)
{

  TIM_ClockConfigTypeDef sClockSourceConfig = {0};
  TIM_MasterConfigTypeDef sMasterConfig = {0};

  htim1.Instance = TIM1;
  htim1.Init.Prescaler = 7199;
  htim1.Init.CounterMode = TIM_COUNTERMODE_UP;
  htim1.Init.Period = 99;
  htim1.Init.ClockDivision = TIM_CLOCKDIVISION_DIV1;
  htim1.Init.RepetitionCounter = 0;
  htim1.Init.AutoReloadPreload = TIM_AUTORELOAD_PRELOAD_DISABLE;
  if (HAL_TIM_Base_Init(&htim1) != HAL_OK)
  {
    Error_Handler();
  }
  sClockSourceConfig.ClockSource = TIM_CLOCKSOURCE_INTERNAL;
  if (HAL_TIM_ConfigClockSource(&htim1, &sClockSourceConfig) != HAL_OK)
  {
    Error_Handler();
  }
  sMasterConfig.MasterOutputTrigger = TIM_TRGO_UPDATE;
  sMasterConfig.MasterSlaveMode = TIM_MASTERSLAVEMODE_DISABLE;
  if (HAL_TIMEx_MasterConfigSynchronization(&htim1, &sMasterConfig) != HAL_OK)
  {
    Error_Handler();
  }

}

static void MX_TIM2_Init(void)
{

  TIM_ClockConfigTypeDef sClockSourceConfig = {0};
  TIM_MasterConfigTypeDef sMasterConfig = {0};
  TIM_OC_InitTypeDef sConfigOC = {0};

  htim2.Instance = TIM2;
  htim2.Init.Prescaler = 71;
  htim2.Init.CounterMode = TIM_COUNTERMODE_UP;
  htim2.Init.Period = 999;
  htim2.Init.ClockDivision = TIM_CLOCKDIVISION_DIV1;
  htim2.Init.AutoReloadPreload = TIM_AUTORELOAD_PRELOAD_DISABLE;
  if (HAL_TIM_Base_Init(&htim2) != HAL_OK)
  {
    Error_Handler();
  }
  sClockSourceConfig.ClockSource = TIM_CLOCKSOURCE_INTERNAL;
  if (HAL_TIM_ConfigClockSource(&htim2, &sClockSourceConfig) != HAL_OK)
  {
    Error_Handler();
  }
  if (HAL_TIM_PWM_Init(&htim2) != HAL_OK)
  {
    Error_Handler();
  }
  sMasterConfig.MasterOutputTrigger = TIM_TRGO_RESET;
  sMasterConfig.MasterSlaveMode = TIM_MASTERSLAVEMODE_DISABLE;
  if (HAL_TIMEx_MasterConfigSynchronization(&htim2, &sMasterConfig) != HAL_OK)
  {
    Error_Handler();
  }
  sConfigOC.OCMode = TIM_OCMODE_PWM1;
  sConfigOC.Pulse = 0;
  sConfigOC.OCPolarity = TIM_OCPOLARITY_HIGH;
  sConfigOC.OCFastMode = TIM_OCFAST_DISABLE;
  if (HAL_TIM_PWM_ConfigChannel(&htim2, &sConfigOC, TIM_CHANNEL_1) != HAL_OK)
  {
    Error_Handler();
  }
  if (HAL_TIM_PWM_ConfigChannel(&htim2, &sConfigOC, TIM_CHANNEL_2) != HAL_OK)
  {
    Error_Handler();
  }
  if (HAL_TIM_PWM_ConfigChannel(&htim2, &sConfigOC, TIM_CHANNEL_3) != HAL_OK)
  {
    Error_Handler();
  }
  if (HAL_TIM_PWM_ConfigChannel(&htim2, &sConfigOC, TIM_CHANNEL_4) != HAL_OK)
  {
    Error_Handler();
  }
  HAL_TIM_MspPostInit(&htim2);

}

static void MX_TIM3_Init(void)
{

  TIM_ClockConfigTypeDef sClockSourceConfig = {0};
  TIM_MasterConfigTypeDef sMasterConfig = {0};

  htim3.Instance = TIM3;
  htim3.Init.Prescaler = 71;
  htim3.Init.CounterMode = TIM_COUNTERMODE_UP;
  htim3.Init.Period = 249;
  htim3.Init.ClockDivision = TIM_CLOCKDIVISION_DIV1;
  htim3.Init.AutoReloadPreload = TIM_AUTORELOAD_PRELOAD_DISABLE;
  if (HAL_TIM_Base_Init(&htim3) != HAL_OK)
  {
    Error_Handler();
  }
  sClockSourceConfig.ClockSource = TIM_CLOCKSOURCE_INTERNAL;
  if (HAL_TIM_ConfigClockSource(&htim3, &sClockSourceConfig) != HAL_OK)
  {
    Error_Handler();
  }
  sMasterConfig.MasterOutputTrigger = TIM_TRGO_UPDATE;
  sMasterConfig.MasterSlaveMode = TIM_MASTERSLAVEMODE_DISABLE;
  if (HAL_TIMEx_MasterConfigSynchronization(&htim3, &sMasterConfig) != HAL_OK)
  {
    Error_Handler();
  }

}

static void MX_USART1_UART_Init(void)
{

  huart1.Instance = USART1;
  huart1.Init.BaudRate = 115200;
  huart1.Init.WordLength = UART_WORDLENGTH_8B;
  huart1.Init.StopBits = UART_STOPBITS_1;
  huart1.Init.Parity = UART_PARITY_NONE;
  huart1.Init.Mode = UART_MODE_TX_RX;
  huart1.Init.HwFlowCtl = UART_HWCONTROL_NONE;
  huart1.Init.OverSampling = UART_OVERSAMPLING_16;
  if (HAL_UART_Init(&huart1) != HAL_OK)
  {
    Error_Handler();
  }

}

static void MX_USART2_UART_Init(void)
{

  huart2.Instance = USART2;
  huart2.Init.BaudRate = 115200;
  huart2.Init.WordLength = UART_WORDLENGTH_8B;
  huart2.Init.StopBits = UART_STOPBITS_1;
  huart2.Init.Parity = UART_PARITY_NONE;
  huart2.Init.Mode = UART_MODE_TX_RX;
  huart2.Init.HwFlowCtl = UART_HWCONTROL_NONE;
  huart2.Init.OverSampling = UART_OVERSAMPLING_16;
  if (HAL_UART_Init(&huart2) != HAL_OK)
  {
    Error_Handler();
  }

}

static void MX_DMA_Init(void)
{

  /* DMA controller clock enable */
  __HAL_RCC_DMA1_CLK_ENABLE();

  /* DMA interrupt init */
  /* DMA1_Channel1_IRQn interrupt configuration */
  HAL_NVIC_SetPriority(DMA1_Channel1_IRQn, 0, 0);
  HAL_NVIC_EnableIRQ(DMA1_Channel1_IRQn);
  /* DMA1_Channel6_IRQn interrupt configuration */
  HAL_NVIC_SetPriority(DMA1_Channel6_IRQn, 0, 0);
  HAL_NVIC_EnableIRQ(DMA1_Channel6_IRQn);
  /* DMA1_Channel7_IRQn interrupt configuration */
  HAL_NVIC_SetPriority(DMA1_Channel7_IRQn, 0, 0);
  HAL_NVIC_EnableIRQ(DMA1_Channel7_IRQn);

}

static void MX_GPIO_Init(void)
{
  GPIO_InitTypeDef GPIO_InitStruct = {0};

  /* GPIO Ports Clock Enable */
  __HAL_RCC_GPIOC_CLK_ENABLE();
  __HAL_RCC_GPIOD_CLK_ENABLE();
  __HAL_RCC_GPIOA_CLK_ENABLE();
  __HAL_RCC_GPIOB_CLK_ENABLE();

  /*Configure GPIO pin Output Level */
  HAL_GPIO_WritePin(LED_GPIO_Port, LED_Pin, GPIO_PIN_RESET);

  /*Configure GPIO pin Output Level */
  HAL_GPIO_WritePin(CH_PD_GPIO_Port, CH_PD_Pin, GPIO_PIN_RESET);

  /*Configure GPIO pin : LED_Pin */
  GPIO_InitStruct.Pin = LED_Pin;
  GPIO_InitStruct.Mode = GPIO_MODE_OUTPUT_PP;
  GPIO_InitStruct.Pull = GPIO_NOPULL;
  GPIO_InitStruct.Speed = GPIO_SPEED_FREQ_LOW;
  HAL_GPIO_Init(LED_GPIO_Port, &GPIO_InitStruct);

  /*Configure GPIO pin : CH_PD_Pin */
  GPIO_InitStruct.Pin = CH_PD_Pin;
  GPIO_InitStruct.Mode = GPIO_MODE_OUTPUT_PP;
  GPIO_InitStruct.Pull = GPIO_NOPULL;
  GPIO_InitStruct.Speed = GPIO_SPEED_FREQ_LOW;
  HAL_GPIO_Init(CH_PD_GPIO_Port, &GPIO_InitStruct);

}

void Error_Handler(void)
{
  __disable_irq();
  while (1)
  {
  }
}
